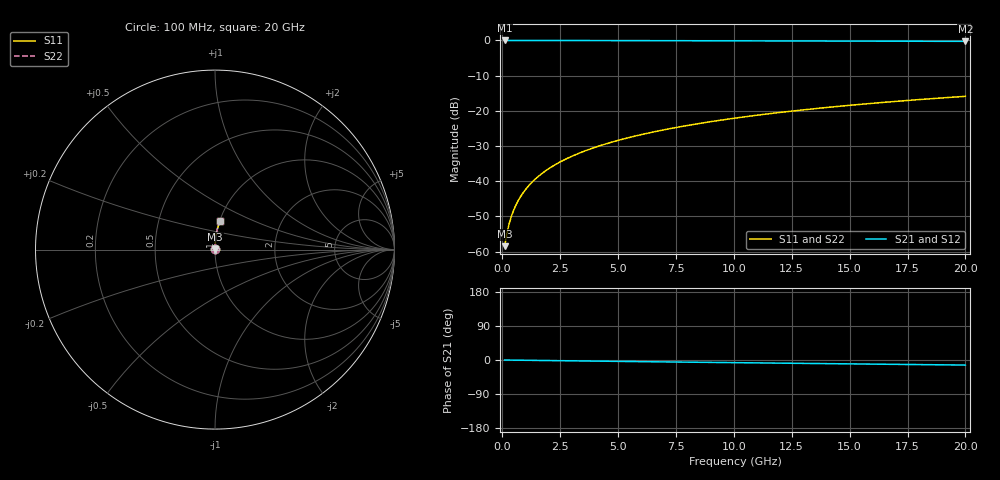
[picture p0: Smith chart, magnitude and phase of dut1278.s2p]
! Touchstone file exported from HFSS 2024.1.0
!  File:  C:/UserFiles/LocalFiles/RDL_TSV_Batchsim/temp_RDL_bottom_1278_1780246534.aedt
!  Generated:  12:58:13 AM Jun  1, 2026
!  Design:  RDL_bottom
!  Project:  temp_RDL_bottom_1278_1780246534
!  Setup:  Setup1
!  Solution:  Sweep
! Variables:
!  dtsv = 10.80580581um
!  hbump = 3um
!  htsv = 76.33um
!  ldown = 150.77um
!  lrdl = 100um
!  p = 40
!  p1 = 48.25um
!  rhole = 1um
!  t = 450um
!  tdown = 4.08um
!  trdl = 3.915915916um
!  wdown = 18.09um
!  wrdl = 20um
# GHz S MA R 50.000000
! Terminal data exported
! Port[1] = RDL1_T1
! Port[2] = RDL1_T2
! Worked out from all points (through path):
!   200 points, 100 MHz to 20 GHz, reference 50 ohm
!   highest |S21| = -0.01 dB at 100 MHz (marker M1); lowest = -0.3 dB at 20 GHz (marker M2)
!   group delay of S21, straight-line fit = 1.84 ps
!   lowest |S11| = -58.4 dB at 100 MHz (marker M3), VSWR 1.00, Z = 50.1 + j0.0797 ohm
!   |S11| at or under -10 dB: start of sweep to end of sweep
!   |S22| runs from -58.4 to -15.9 dB; largest |S21 - S12| = 2.2e-15
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0.1  0.001197 41.6  0.9991 -0.1  0.9991 -0.1  0.001197 41.6
! Gamma 0 0 0 0
! Port Impedance 50 0 50 0
0.2  0.001825 59.5  0.9991 -0.2  0.9991 -0.2  0.001825 59.5
0.3  0.002521 67.6  0.999 -0.2  0.999 -0.2  0.002521 67.6
0.4  0.003233 72.2  0.999 -0.3  0.999 -0.3  0.003233 72.2
0.5  0.003951 75.3  0.9989 -0.4  0.9989 -0.4  0.003951 75.3
0.6  0.004675 77.4  0.9989 -0.5  0.9989 -0.5  0.004675 77.4
0.8  0.006134 80.2  0.9988 -0.6  0.9988 -0.6  0.006134 80.2
1.1  0.008344 82.7  0.9987 -0.8  0.9987 -0.8  0.008344 82.7
1.5  0.01131 84.6  0.9985 -1.1  0.9985 -1.1  0.01131 84.6
1.8  0.01356 85.4  0.9983 -1.3  0.9983 -1.3  0.01356 85.4
2.1  0.01581 86.0  0.9981 -1.6  0.9981 -1.6  0.01581 86.0
2.7  0.02034 86.8  0.9976 -2.0  0.9976 -2.0  0.02034 86.8
3.5  0.02643 87.4  0.9968 -2.6  0.9968 -2.6  0.02643 87.4
4.2  0.03182 87.6  0.9959 -3.1  0.9959 -3.1  0.03182 87.6
5  0.03805 87.7  0.9948 -3.7  0.9948 -3.7  0.03805 87.7
5.9  0.04515 87.7  0.9935 -4.3  0.9935 -4.3  0.04515 87.7
6.8  0.05233 87.5  0.9922 -4.9  0.9922 -4.9  0.05233 87.5
8.3  0.06448 87.0  0.9898 -5.9  0.9898 -5.9  0.06448 87.0
10.1  0.07925 86.2  0.9868 -7.1  0.9868 -7.1  0.07925 86.2
13.4  0.1066 84.2  0.9814 -9.2  0.9814 -9.2  0.1066 84.2
16.7  0.1339 82.0  0.9759 -11.3  0.9759 -11.3  0.1339 82.0
20  0.1608 79.8  0.9702 -13.4  0.9702 -13.4  0.1608 79.8
